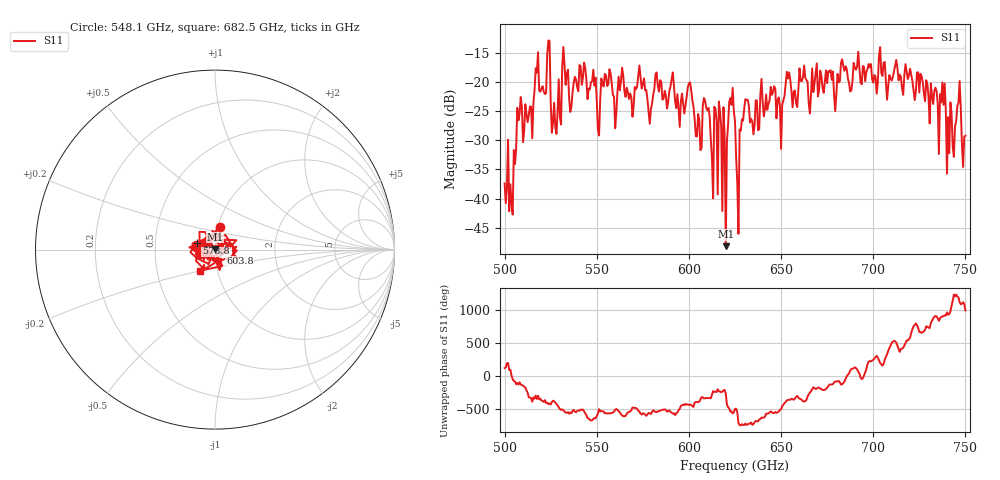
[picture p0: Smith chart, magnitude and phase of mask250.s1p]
!Created with skrf (http://scikit-rf.org).
# GHz S MA R 50.0
!freq magS11 angS11
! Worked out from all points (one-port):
!   401 points, 500 GHz to 750 GHz, reference 50 ohm
!   lowest |S11| = -48.1 dB at 620 GHz (marker M1), VSWR 1.01, Z = 50 + j0.391 ohm
!   |S11| at or under -10 dB: start of sweep to end of sweep
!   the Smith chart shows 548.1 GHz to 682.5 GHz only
!   S11 on the Smith chart (normalised r, x): 548.1 GHz: 1.02, +0.26; 573.8 GHz: 0.81, +0.06; 603.8 GHz: 1.06, -0.03; 682.5 GHz: 0.82, -0.20
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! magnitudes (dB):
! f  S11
! 500 GHz  -37.4
! 503.8 GHz  -40.7
! 508.1 GHz  -25.5
! 513.8 GHz  -24.2
! 517.5 GHz  -18.5
! 523.8 GHz  -12.9
! 526.9 GHz  -23.6
! 531.2 GHz  -17.6
! 548.1 GHz  -17.9
! 551.2 GHz  -29.2
! 562.5 GHz  -21.5
! 573.8 GHz  -19.3
! 593.8 GHz  -22.1
! 600.6 GHz  -20.1
! 603.8 GHz  -29.3
! 620 GHz  -48.1
! 623.1 GHz  -24.0
! 625 GHz  -26.7
! 626.9 GHz  -46.0
! 631.2 GHz  -23.2
! 656.2 GHz  -24.4
! 682.5 GHz  -16.8
! 687.5 GHz  -21.7
! 718.8 GHz  -19.5
! 737.5 GHz  -20.1
! 742.5 GHz  -25.4
! 746.2 GHz  -23.6
! 750 GHz  -29.2
